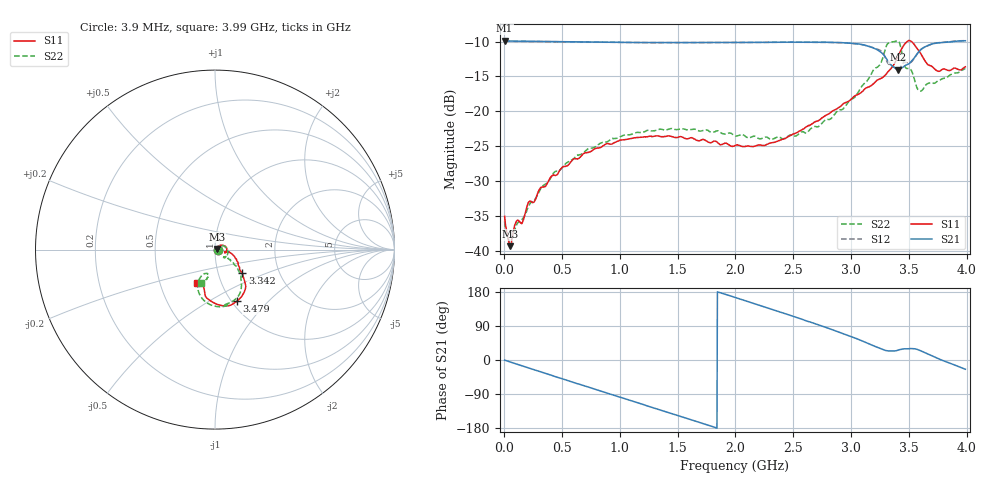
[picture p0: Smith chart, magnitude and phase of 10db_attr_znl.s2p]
#  HZ  S  RI  R  50.00
! Rohde & Schwarz Vector Network Analyzer
! Rohde-Schwarz,ZNL20-2Port,1323001220101312,1.72.1.6-23.02.1.246
! Created: UTC 10/9/2024, 8:34:17 PM
! freq[Hz]  re:S11  im:S11  re:S21  im:S21  re:S12  im:S12  re:S22  im:S22
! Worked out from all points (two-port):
!   1023 points, 3.9 MHz to 3.99 GHz, reference 50 ohm
!   highest |S21| = -9.89 dB at 3.9 MHz (marker M1); lowest = -14.0 dB at 3.405 GHz (marker M2)
!   |S21| within 3 dB of the highest: start of sweep to 3.325 GHz; 3.52 GHz to end of sweep
!   lowest |S11| = -39.3 dB at 50.7 MHz (marker M3), VSWR 1.02, Z = 51 + j0.333 ohm
!   |S11| at or under -10 dB: start of sweep to 3.488 GHz; 3.523 GHz to end of sweep
!   |S22| runs from -38.7 to -9.9 dB; largest |S21 - S12| = 0.016
!   S11 on the Smith chart (normalised r, x): 3.9 MHz: 1.04, +0.00; 3.342 GHz: 1.30, -0.36; 3.479 GHz: 1.06, -0.67; 3.99 GHz: 0.77, -0.30
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3900000  0.0177 0.000256  0.3203 -0.00143  0.3188 -0.0026  0.0163 0.000388
5.07e7  0.0103 0.00326  0.3173 -0.0282  0.3164 -0.0288  0.011 0.0036
1.053e8  0.0147 0.00702  0.3127 -0.0579  0.3116 -0.0585  0.0138 0.00629
1.56e8  0.0129 0.00933  0.3061 -0.0849  0.3051 -0.0854  0.0137 0.00987
3.12e8  0.0213 0.0185  0.2717 -0.1624  0.2707 -0.1627  0.0217 0.017
6.708e8  0.0421 0.0238  0.1279 -0.2869  0.1269 -0.287  0.0449 0.0209
1.0023e9  0.0599 0.0166  -0.0436 -0.3088  -0.0447 -0.3083  0.0653 0.0075
1.3338e9  0.0666 0.000126  -0.2004 -0.2375  -0.2011 -0.2364  0.0723 -0.0164
1.6809e9  0.0601 -0.0136  -0.2989 -0.0862  -0.2988 -0.0849  0.0636 -0.035
1.9968e9  0.0544 -0.0167  -0.3012 0.0794  -0.3003 0.081  0.0515 -0.0425
2.2581e9  0.0559 -0.0124  -0.2371 0.2026  -0.2358 0.2039  0.0484 -0.044
2.6637e9  0.08 -0.015  -0.0461 0.309  -0.0443 0.3089  0.0621 -0.0448
2.9328e9  0.1072 -0.0364  0.1075 0.2908  0.109 0.2899  0.086 -0.0592
3.1278e9  0.128 -0.0713  0.2048 0.2142  0.2053 0.2127  0.1258 -0.1019
3.2526e9  0.1367 -0.1024  0.2309 0.1346  0.2364 0.1375  0.1441 -0.1628
3.3267e9  0.1484 -0.1265  0.2062 0.0914  0.1932 0.1004  0.0709 -0.3004
3.3423e9  0.1515 -0.1321  0.1981 0.0875  0.1899 0.0966  0.0547 -0.3078
3.4047e9  0.1655 -0.1798  0.1791 0.0865  0.1829 0.0733  0.0358 -0.3182
3.4788e9  0.1225 -0.287  0.187 0.1058  0.1963 0.1065  -0.0958 -0.1793
3.5997e9  -0.0541 -0.2565  0.2488 0.1147  0.2519 0.1123  -0.0418 -0.1333
3.7479e9  -0.0601 -0.1849  0.3081 0.0239  0.3087 0.0218  -0.0438 -0.1585
3.9897e9  -0.099 -0.1835  0.2917 -0.1322  0.2915 -0.1338  -0.0784 -0.1867
